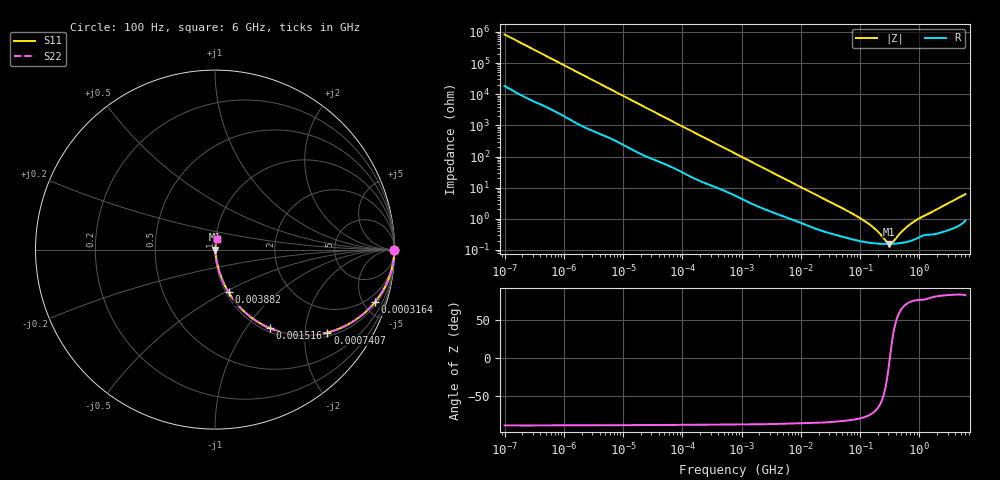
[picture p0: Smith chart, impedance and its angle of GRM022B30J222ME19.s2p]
!Murata Part Number: GRM022B30J222ME19
!These Parameters are Measured in Series Mode Connection
!Data Generated on Mar 30, 2021
!  o--ll--o
!Port1  Port2
!  o------o
!Operation Temp=25[degC], DC Bias Voltage=0[V]
!Freq. Start=100[Hz] Stop=6[GHz] 401[Steps]
# Hz S RI R 50
!Freq.(Hz) S11(Real) S11(Imag) S21(Real) S21(Imag) S12(Real) S12(Imag) S22(Real) S22(Imag)
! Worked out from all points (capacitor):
!   401 points, 100 Hz to 6 GHz, reference 50 ohm
!   read as one part in series: C = 1.91 nF near 109 Hz
!   lowest |Z| = 157 mohm at 312.4 MHz (marker M1)
!   series resonance near 319.1 MHz, so ESL is about 130 pH
!   S11 on the Smith chart (normalised r, x): 100 Hz: open; 316.4 kHz: 1.23, -5.98; 740.7 kHz: 1.12, -2.62; 1.516 MHz: 1.06, -1.30; 3.882 MHz: 1.03, -0.52; 6 GHz: 1.02, +0.12
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100  1 -0.000121  2.7e-06 0.000121  2.7e-06 0.000121  1 -0.000121
2008  0.9999 -0.00232  5.69e-05 0.00232  5.69e-05 0.00232  0.9999 -0.00232
40335  0.9967 -0.0443  0.00332 0.0443  0.00332 0.0443  0.9967 -0.0443
123542  0.9785 -0.1294  0.0215 0.1294  0.0215 0.1294  0.9785 -0.1294
316350  0.8905 -0.2937  0.1095 0.2937  0.1095 0.2937  0.8905 -0.2937
473344  0.7935 -0.3844  0.2065 0.3844  0.2065 0.3844  0.7935 -0.3844
740679  0.6261 -0.4622  0.3739 0.4622  0.3739 0.4622  0.6261 -0.4622
774597  0.6064 -0.4669  0.3936 0.4669  0.3936 0.4669  0.6064 -0.4669
1516199  0.3065 -0.4386  0.6935 0.4386  0.6935 0.4386  0.3065 -0.4386
2372521  0.1628 -0.3453  0.8372 0.3453  0.8372 0.3453  0.1628 -0.3453
3882480  0.0754 -0.2377  0.9246 0.2377  0.9246 0.2377  0.0754 -0.2377
7266822  0.0287 -0.1371  0.9713 0.1371  0.9713 0.1371  0.0287 -0.1371
1.555665e7  0.00984 -0.0674  0.9902 0.0674  0.9902 0.0674  0.00984 -0.0674
5.960426e7  0.00276 -0.0181  0.9972 0.0181  0.9972 0.0181  0.00276 -0.0181
1.166697e8  0.00188 -0.00854  0.9981 0.00854  0.9981 0.00854  0.00188 -0.00854
1.745687e8  0.00165 -0.00466  0.9984 0.00466  0.9984 0.00466  0.00165 -0.00466
2.731619e8  0.00156 -0.00114  0.9984 0.00114  0.9984 0.00114  0.00156 -0.00114
3.124326e8  0.00156 -0.000152  0.9984 0.000152  0.9984 0.000152  0.00156 -0.000152
3.573489e8  0.00158 0.000832  0.9984 -0.000832  0.9984 -0.000832  0.00158 0.000832
5.59173e8  0.00175 0.00432  0.9982 -0.00432  0.9982 -0.00432  0.00175 0.00432
8.749838e8  0.00234 0.00857  0.9977 -0.00857  0.9977 -0.00857  0.00234 0.00857
6e9  0.0124 0.0601  0.9876 -0.0601  0.9876 -0.0601  0.0124 0.0601
